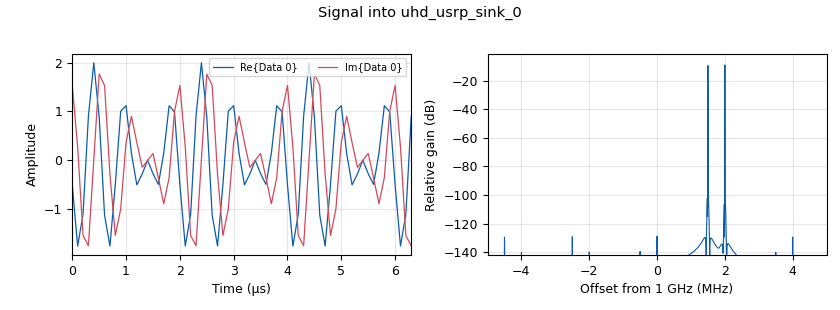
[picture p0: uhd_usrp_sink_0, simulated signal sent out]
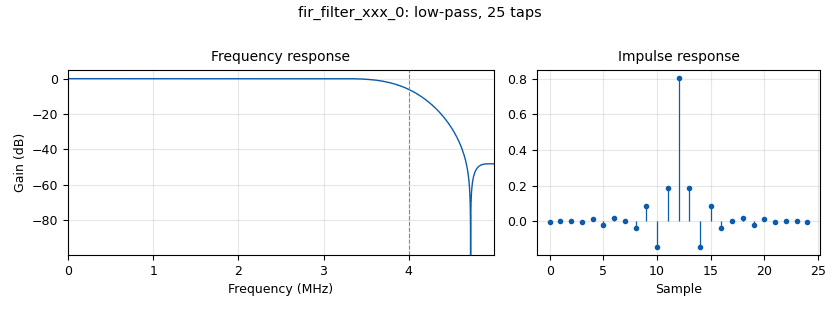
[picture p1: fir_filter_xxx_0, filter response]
options:
  parameters:
    author: Ben Cometto
    generate_options: qt_gui
    id: radio_test
    output_language: python
    title: USRP B210 Radio Test
  states: {}

blocks:
- name: lpf_taps
  id: variable_low_pass_filter_taps
  parameters:
    cutoff_freq: int(samp_rate*0.4)
    gain: '1.0'
    samp_rate: samp_rate
    width: int(samp_rate*0.1)
    win: window.WIN_HAMMING
  states: {}
- name: samp_rate
  id: variable
  parameters:
    value: 10e6
  states: {}
- name: analog_sig_source_x_0
  id: analog_sig_source_x
  parameters:
    amp: '1'
    freq: int(samp_rate*0.15)
    offset: '0'
    phase: '0'
    samp_rate: samp_rate
    type: complex
    waveform: analog.GR_COS_WAVE
  states: {}
- name: analog_sig_source_x_0_0
  id: analog_sig_source_x
  parameters:
    amp: '1'
    freq: int(samp_rate*0.20)
    offset: '0'
    phase: '0'
    samp_rate: samp_rate
    type: complex
    waveform: analog.GR_COS_WAVE
  states: {}
- name: blocks_add_xx_0
  id: blocks_add_xx
  parameters:
    type: complex
  states: {}
- name: blocks_multiply_xx_0
  id: blocks_multiply_xx
  parameters:
    type: complex
  states: {}
- name: fir_filter_xxx_0
  id: fir_filter_xxx
  parameters:
    decim: '1'
    taps: lpf_taps
    type: ccc
  states: {}
- name: qtgui_freq_sink_x_0
  id: qtgui_freq_sink_x
  parameters:
    bw: samp_rate
    fc: '0'
    fftsize: '1024'
    type: complex
  states: {state: disabled}
- name: qtgui_freq_sink_x_0_0
  id: qtgui_freq_sink_x
  parameters:
    bw: samp_rate
    ctrlpanel: 'True'
    fc: '0'
    fftsize: '1024'
    label1: '"Rx"'
    label2: '"Tx"'
    nconnections: '2'
    type: complex
  states: {}
- name: uhd_usrp_sink_0
  id: uhd_usrp_sink
  parameters:
    ant0: '"TX/RX"'
    center_freq0: 1e9
    gain0: '20'
    samp_rate: samp_rate
    sd_spec0: A:A
    sync: sync
    type: fc32
  states: {}
- name: uhd_usrp_source_0
  id: uhd_usrp_source
  parameters:
    ant0: '"TX/RX"'
    center_freq0: 1e9
    gain0: '30'
    samp_rate: samp_rate
    sd_spec0: A:B
    sync: sync
    type: fc32
  states: {}

connections:
- [analog_sig_source_x_0, '0', blocks_add_xx_0, '0']
- [analog_sig_source_x_0_0, '0', blocks_add_xx_0, '1']
- [blocks_add_xx_0, '0', blocks_multiply_xx_0, '0']
- [blocks_add_xx_0, '0', blocks_multiply_xx_0, '1']
- [blocks_add_xx_0, '0', uhd_usrp_sink_0, '0']
- [blocks_multiply_xx_0, '0', qtgui_freq_sink_x_0_0, '1']
- [fir_filter_xxx_0, '0', qtgui_freq_sink_x_0_0, '0']
- [uhd_usrp_source_0, '0', fir_filter_xxx_0, '0']

metadata:
  file_format: 1
  grc_version: 3.10.10.0
